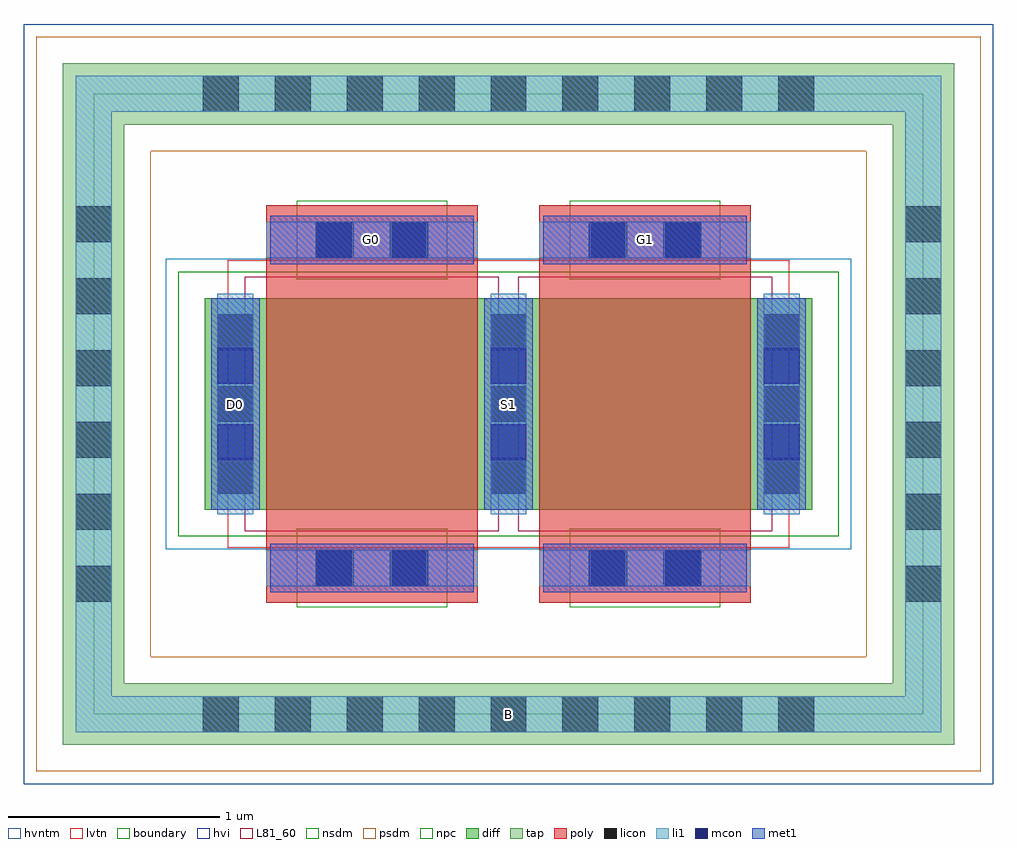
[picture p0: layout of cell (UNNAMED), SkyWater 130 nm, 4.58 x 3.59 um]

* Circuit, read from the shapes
.subckt (UNNAMED) B D0 G0 G1 S1
XM1 S1 G0 D0 B sky130_fd_pr__nfet_05v0_nvt w=1 l=1
XM2 n1 G1 S1 B sky130_fd_pr__nfet_05v0_nvt w=1 l=1
.ends

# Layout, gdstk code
import gdstk
lib = gdstk.Library(unit=1e-6, precision=1e-09)
def R(c, l, rs):  # rectangles x0, y0, x1, y1
    for r in rs: c.add(gdstk.rectangle(r[:2], r[2:], *l))
def A(c, l, x, y, w, h, nx, ny, dx, dy):  # array of equal rectangles
    R(c, l, [(x+i*dx, y+j*dy, x+i*dx+w, y+j*dy+h) for i in range(nx) for j in range(ny)])
diff = (65, 20)
tap = (65, 44)
poly = (66, 20)
licon = (66, 44)
li1 = (67, 20)
mcon = (67, 44)
met1 = (68, 20)
hvi = (75, 20)
L81_60 = (81, 60)
nsdm = (93, 44)
psdm = (94, 20)
npc = (95, 20)
hvntm = (125, 20)
lvtn = (125, 44)
boundary = (235, 4)

c__unnamed_ = lib.new_cell('(UNNAMED)')
R(c__unnamed_, diff, [(-1.435,-0.5,1.435,0.5)])
R(c__unnamed_, tap, [(-2.105,-1.61,2.105,-1.32), (-2.105,-1.32,-1.815,1.32), (1.815,-1.32,2.105,1.32), (-2.105,1.32,2.105,1.61)])
R(c__unnamed_, poly, [(-1.145,-0.94,-0.145,0.94), (0.145,-0.94,1.145,0.94)])
A(c__unnamed_, licon, -1.445, -1.55, 0.17, 0.17, 9, 2, 0.34, 2.93)
A(c__unnamed_, licon, -2.045, -0.935, 0.17, 0.17, 1, 6, 0, 0.34)
A(c__unnamed_, licon, 1.875, -0.935, 0.17, 0.17, 1, 6, 0, 0.34)
A(c__unnamed_, licon, -1.375, -0.425, 0.17, 0.17, 3, 3, 1.29, 0.34)
R(c__unnamed_, licon, [(-0.9,-0.86,-0.73,-0.69), (-0.56,-0.86,-0.39,-0.69), (0.39,-0.86,0.56,-0.69), (0.73,-0.86,0.9,-0.69), (-0.9,0.69,-0.73,0.86), (-0.56,0.69,-0.39,0.86), (0.39,0.69,0.56,0.86), (0.73,0.69,0.9,0.86)])
A(c__unnamed_, li1, -1.375, -0.52, 0.17, 1.04, 3, 1, 1.29, 0)
R(c__unnamed_, li1, [(-2.045,-1.55,2.045,-1.38), (-2.045,-1.38,-1.875,1.38), (1.875,-1.38,2.045,1.38), (-1.145,-0.86,-0.145,-0.69), (0.145,-0.86,1.145,-0.69), (-1.145,0.69,-0.145,0.86), (0.145,0.69,1.145,0.86), (-2.045,1.38,2.045,1.55)])
A(c__unnamed_, mcon, -1.375, -0.265, 0.17, 0.17, 3, 2, 1.29, 0.36)
R(c__unnamed_, mcon, [(-0.91,-0.86,-0.74,-0.69), (-0.55,-0.86,-0.38,-0.69), (0.38,-0.86,0.55,-0.69), (0.74,-0.86,0.91,-0.69), (-0.91,0.69,-0.74,0.86), (-0.55,0.69,-0.38,0.86), (0.38,0.69,0.55,0.86), (0.74,0.69,0.91,0.86)])
A(c__unnamed_, met1, -1.405, -0.5, 0.23, 1, 3, 1, 1.29, 0)
R(c__unnamed_, met1, [(-1.125,-0.89,-0.165,-0.66), (0.165,-0.89,1.125,-0.66), (-1.125,0.66,-0.165,0.89), (0.165,0.66,1.125,0.89)])
R(c__unnamed_, hvi, [(-2.29,-1.795,2.29,1.795)])
R(c__unnamed_, L81_60, [(-1.245,-0.6,-0.045,0.6), (0.045,-0.6,1.245,0.6)])
R(c__unnamed_, nsdm, [(-1.56,-0.625,1.56,0.625)])
R(c__unnamed_, psdm, [(-2.23,-1.735,2.23,-1.195), (-2.23,-1.195,-1.69,1.195), (1.69,-1.195,2.23,1.195), (-2.23,1.195,2.23,1.735)])
R(c__unnamed_, npc, [(-1,-0.96,-0.29,-0.59), (0.29,-0.96,1,-0.59), (-1,0.59,-0.29,0.96), (0.29,0.59,1,0.96)])
R(c__unnamed_, hvntm, [(-1.62,-0.685,1.62,0.685)])
R(c__unnamed_, lvtn, [(-1.325,-0.68,1.325,0.68)])
R(c__unnamed_, boundary, [(-1.96,-1.465,1.96,1.465)])
c__unnamed_.add(gdstk.Label('B', (0,-1.465), layer=67, texttype=5))
c__unnamed_.add(gdstk.Label('D0', (-1.29,0), layer=67, texttype=5))
c__unnamed_.add(gdstk.Label('G0', (-0.645,0.775), layer=67, texttype=5))
c__unnamed_.add(gdstk.Label('S1', (0,0), layer=67, texttype=5))
c__unnamed_.add(gdstk.Label('G1', (0.645,0.775), layer=67, texttype=5))

lib.write_gds('_UNNAMED_.gds')
